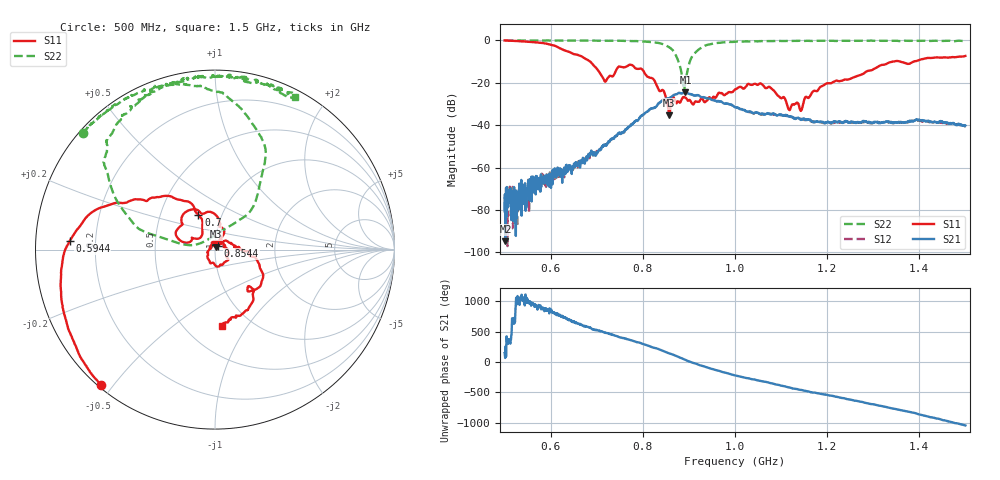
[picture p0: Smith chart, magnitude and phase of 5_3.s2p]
!Agilent Technologies,E8364B,US42250235,A.06.04.32
!Agilent E8364B: A.06.04.32
!Date: Friday, January 15, 2021 14:48:13
!Correction: S11(Full 2 Port(1,2)) S21(Full 2 Port(1,2)) S12(Full 2 Port(1,2)) S22(Full 2 Port(1,2))
!S2P File: Measurements: S11, S21, S12, S22:
# Hz S  dB  R 50
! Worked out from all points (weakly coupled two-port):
!   1601 points, 500 MHz to 1.5 GHz, reference 50 ohm
!   highest |S21| = -24.50 dB at 892.5 MHz (marker M1); lowest = -94.8 dB at 501.9 MHz (marker M2)
!   lowest |S11| = -35.4 dB at 857.5 MHz (marker M3), VSWR 1.03, Z = 50.3 + j1.66 ohm
!   |S11| at or under -10 dB: 685.1 MHz to 1.346 GHz (660.6 MHz wide, 65.1 % of centre); 1.357 GHz to 1.388 GHz (30.95 MHz wide, 2.25 % of centre)
!   |S22| runs from -23.3 to -0.1 dB; largest |S21 - S12| = 0.0021
!   S11 on the Smith chart (normalised r, x): 500 MHz: 0.01, -0.47; 594.4 MHz: 0.10, +0.03; 700 MHz: 0.78, +0.31; 854.4 MHz: 1.04, +0.04; 1.5 GHz: 0.74, -0.77
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5e8  -0.13 -130.1  -80.62 146.7  -80.37 3.9  -0.15 138.5
5.01875e8  -0.14 -130.9  -94.83 -144.8  -73.58 -33.5  -0.14 138.3
5.94375e8  -1.81 176.6  -66.13 120.3  -63.83 132.4  -0.14 130.0
6.66875e8  -7.60 134.4  -56.86 -113.5  -56.45 -108.9  -0.19 121.7
7e8  -13.43 115.7  -52.88 162.0  -53.21 160.7  -0.19 118.3
7.19375e8  -19.43 143.1  -49.51 121.1  -49.14 116.1  -0.24 115.6
7.75e8  -11.63 123.0  -39.81 -3.7  -39.64 -5.1  -0.43 105.3
8.3375e8  -23.13 61.4  -29.98 -146.7  -29.80 -148.1  -1.30 85.8
8.54375e8  -31.07 49.9  -27.44 149.2  -27.46 148.1  -2.99 71.1
8.575e8  -35.44 77.9  -27.31 141.9  -27.34 139.9  -3.38 67.6
8.7625e8  -28.88 88.7  -25.04 86.7  -25.11 86.0  -9.45 49.3
8.86875e8  -26.97 107.9  -24.93 52.9  -24.92 51.4  -20.23 76.6
8.925e8  -27.11 80.7  -24.50 34.3  -24.57 32.9  -19.57 163.8
9.04375e8  -29.07 86.7  -25.49 -1.8  -25.52 -2.9  -8.69 166.4
9.2125e8  -29.04 70.7  -26.04 -46.3  -26.02 -47.1  -4.37 154.0
1e9  -23.23 3.0  -31.62 139.6  -31.53 137.5  -0.74 120.5
1.05625e9  -20.43 -83.1  -34.79 47.1  -35.06 44.6  -0.43 112.0
1.118125e9  -32.89 155.9  -36.03 -59.7  -35.77 -62.8  -0.35 103.8
1.14375e9  -33.13 108.9  -37.44 -99.6  -37.07 -103.3  -0.31 100.9
1.166875e9  -24.80 63.7  -38.22 -141.1  -38.21 -140.4  -0.34 97.5
1.33375e9  -10.59 -26.1  -38.32 -33.0  -38.78 -33.3  -0.31 79.5
1.5e9  -7.40 -84.7  -40.21 35.9  -40.56 33.3  -0.37 62.3
